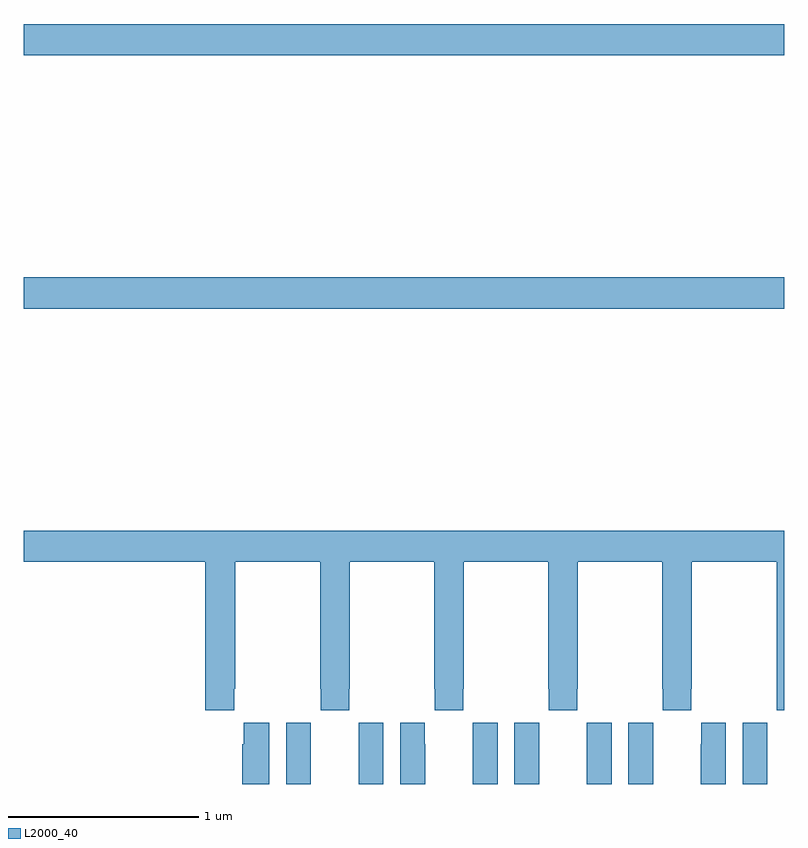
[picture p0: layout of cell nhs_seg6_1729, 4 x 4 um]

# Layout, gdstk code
import gdstk
lib = gdstk.Library(unit=1e-6, precision=1e-09)
def R(c, l, rs):  # rectangles x0, y0, x1, y1
    for r in rs: c.add(gdstk.rectangle(r[:2], r[2:], *l))
def P(c, l, *ps):  # polygons
    for p in ps: c.add(gdstk.Polygon(p, *l))
L2000_40 = (2000, 40)

nhs_seg6_1729 = lib.new_cell('nhs_seg6_1729')
R(nhs_seg6_1729, L2000_40, [(215,950,219,950.164), (215,951.332,219,951.496)])
P(nhs_seg6_1729, L2000_40, [(216.107,948.001),(216.114,948.001),(216.114,948.668),(216.559,948.668),(216.559,948.001),(216.561,948.001),(216.561,947.889),(216.711,947.889),(216.711,948.001),(216.714,948.001),(216.714,948.668),(217.159,948.668),(217.159,948.001),(217.161,948.001),(217.161,947.889),(217.311,947.889),(217.311,948.001),(217.314,948.001),(217.314,948.668),(217.759,948.668),(217.759,948.001),(217.761,948.001),(217.761,947.889),(217.911,947.889),(217.911,948.001),(217.914,948.001),(217.914,948.668),(218.359,948.668),(218.359,948.001),(218.361,948.001),(218.361,947.889),(218.511,947.889),(218.511,948.001),(218.514,948.001),(218.514,948.668),(218.959,948.668),(218.959,948.001),(218.961,948.001),(218.961,947.889),(219,947.889),(219,948.832),(215,948.832),(215,948.668),(215.954,948.668),(215.954,947.889),(216.107,947.889)],
  [(217.492,947.821),(217.362,947.821),(217.362,947.708),(217.361,947.708),(217.361,947.5),(217.492,947.5)],
  [(218.911,947.708),(218.91,947.708),(218.91,947.821),(218.78,947.821),(218.78,947.5),(218.911,947.5)],
  [(218.692,947.821),(218.562,947.821),(218.562,947.708),(218.561,947.708),(218.561,947.5),(218.692,947.5)],
  [(218.311,947.708),(218.31,947.708),(218.31,947.821),(218.18,947.821),(218.18,947.5),(218.311,947.5)],
  [(218.092,947.821),(217.962,947.821),(217.962,947.708),(217.961,947.708),(217.961,947.5),(218.092,947.5)],
  [(217.71,947.708),(217.71,947.821),(217.58,947.821),(217.58,947.5),(217.711,947.5),(217.711,947.708)],
  [(217.111,947.708),(217.11,947.708),(217.11,947.821),(216.98,947.821),(216.98,947.5),(217.111,947.5)],
  [(216.892,947.821),(216.762,947.821),(216.762,947.708),(216.761,947.708),(216.761,947.5),(216.892,947.5)],
  [(216.511,947.708),(216.51,947.708),(216.51,947.821),(216.38,947.821),(216.38,947.5),(216.511,947.5)],
  [(216.158,947.821),(216.158,947.708),(216.149,947.708),(216.149,947.5),(216.292,947.5),(216.292,947.821)])

lib.write_gds('nhs_seg6_1729.gds')
